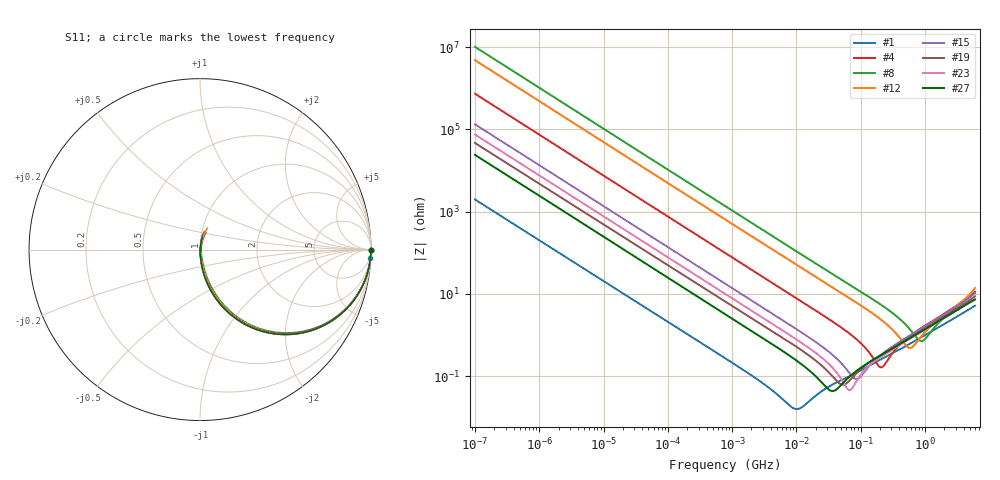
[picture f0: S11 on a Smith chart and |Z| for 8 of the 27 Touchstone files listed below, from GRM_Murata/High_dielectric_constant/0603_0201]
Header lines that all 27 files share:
!These Parameters are Measured in Series Mode Connection
!Data Generated on Mar 30, 2021
!  o--ll--o
!Port1  Port2
!  o------o
!Operation Temp=25[degC], DC Bias Voltage=0[V]
!Freq. Start=100[Hz] Stop=6[GHz] 401[Steps]
# Hz S RI R 50
!Freq.(Hz) S11(Real) S11(Imag) S21(Real) S21(Imag) S12(Real) S12(Imag) S22(Real) S22(Imag)
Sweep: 100 Hz to 6 GHz
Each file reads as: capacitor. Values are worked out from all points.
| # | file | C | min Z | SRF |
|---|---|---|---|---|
| 1 | GRM032D80G105ME01.s2p | 802 nF | 15.7 mohm | 10.49 MHz |
| 2 | GRM033B10J152KA01.s2p | 1.53 nF | 197 mohm | 266.4 MHz |
| 3 | GRM033B10J153KE01.s2p | 14.6 nF | 72.4 mohm | 80.47 MHz |
| 4 | GRM033B10J222KA01.s2p | 2.14 nF | 162 mohm | 208.3 MHz |
| 5 | GRM033B10J332KA01.s2p | 3.21 nF | 121 mohm | 179.9 MHz |
| 6 | GRM033B10J333KE01.s2p | 30.7 nF | 39.4 mohm | 56.44 MHz |
| 7 | GRM033B11A472KA01.s2p | 4.52 nF | 102 mohm | 143.6 MHz |
| 8 | GRM033B11C151KA01.s2p | 155 pF | 711 mohm | 885.1 MHz |
| 9 | GRM033B11C221KA01.s2p | 230 pF | 545 mohm | 704.5 MHz |
| 10 | GRM033B11E101KA01.s2p | 103 pF | 958 mohm | 1.057 GHz |
| 11 | GRM033B11E102MA01.s2p | 1 nF | 234 mohm | 317.1 MHz |
| 12 | GRM033B11E331KA01.s2p | 328 pF | 481 mohm | 585.2 MHz |
| 13 | GRM033B11E471KA01.s2p | 489 pF | 386 mohm | 457.3 MHz |
| 14 | GRM033B30G224ME15.s2p | 177 nF | 25.8 mohm | 23.37 MHz |
| 15 | GRM033B31A123KE84.s2p | 11.9 nF | 84.2 mohm | 86.68 MHz |
| 16 | GRM033B31A183ME84.s2p | 18.3 nF | 53 mohm | 71.86 MHz |
| 17 | GRM033B31A223KE84.s2p | 22 nF | 43.1 mohm | 65.28 MHz |
| 18 | GRM033B31A273KE84.s2p | 23.8 nF | 59.2 mohm | 63.69 MHz |
| 19 | GRM033B31A393KE84.s2p | 33.8 nF | 61.2 mohm | 53.82 MHz |
| 20 | GRM033B31A473KE84.s2p | 46.6 nF | 31.4 mohm | 44.57 MHz |
| 21 | GRM033B31C104KE84.s2p | 97.3 nF | 31.6 mohm | 31.56 MHz |
| 22 | GRM033B31C153KE84.s2p | 14 nF | 68.8 mohm | 80.59 MHz |
| 23 | GRM033B31C223KE84.s2p | 21.1 nF | 45.3 mohm | 67.81 MHz |
| 24 | GRM033B31C332MA87.s2p | 3.3 nF | 113 mohm | 176.5 MHz |
| 25 | GRM033B31C333ME84.s2p | 29.2 nF | 37.2 mohm | 57.4 MHz |
| 26 | GRM033B31C473KE84.s2p | 44.4 nF | 30.8 mohm | 46.59 MHz |
| 27 | GRM033B31C683KE84.s2p | 65.9 nF | 43 mohm | 37.12 MHz |
